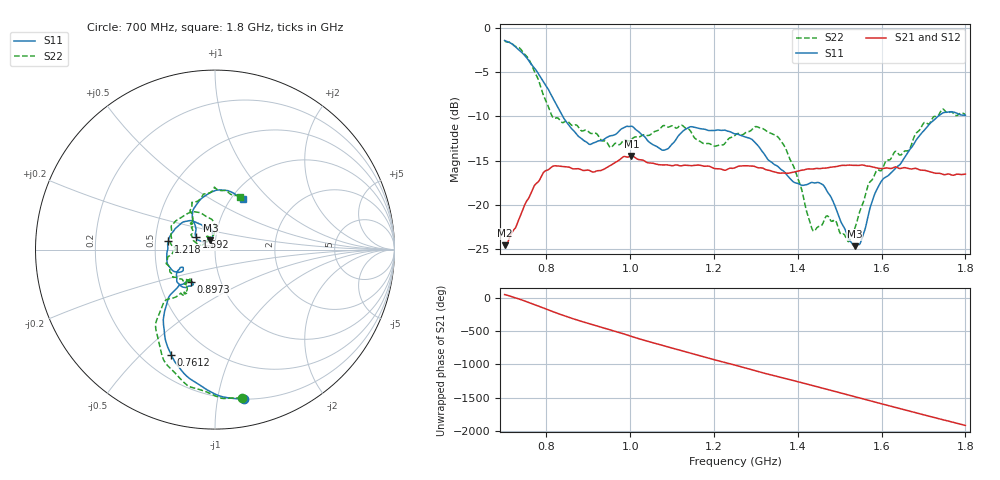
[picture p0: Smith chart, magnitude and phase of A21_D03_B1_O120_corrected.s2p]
! Created with skrf 1.9.0 (http://scikit-rf.org).
# Hz S RI R 50.0
!freq ReS11 ImS11 ReS21 ImS21 ReS12 ImS12 ReS22 ImS22
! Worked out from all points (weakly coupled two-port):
!   1601 points, 700 MHz to 1.8 GHz, reference 50 ohm
!   highest |S21| = -14.48 dB at 1.002 GHz (marker M1); lowest = -24.6 dB at 700.7 MHz (marker M2)
!   lowest |S11| = -24.7 dB at 1.536 GHz (marker M3), VSWR 1.12, Z = 47.3 + j5.02 ohm
!   |S11| at or under -10 dB: 838.9 MHz to 1.735 GHz (895.7 MHz wide, 69.6 % of centre)
!   |S22| runs from -24.1 to -1.5 dB; largest |S21 - S12| = 0.0036
!   S11 on the Smith chart (normalised r, x): 700 MHz: 0.20, -1.19; 761.2 MHz: 0.32, -0.62; 897.3 MHz: 0.72, -0.27; 1.218 GHz: 0.59, +0.06; 1.592 GHz: 0.80, +0.11; 1.8 GHz: 1.13, +0.71
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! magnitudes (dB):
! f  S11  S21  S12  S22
! 700 MHz  -1.4  -24.6  -24.3  -1.5
! 700.7 MHz  -1.4  -24.6  -24.3  -1.5
! 761.2 MHz  -4.0  -18.9  -18.8  -3.9
! 814.8 MHz  -7.9  -15.6  -15.7  -10.1
! 883.6 MHz  -12.5  -16.0  -15.9  -11.6
! 897.3 MHz  -13.0  -16.1  -16.1  -11.6
! 953 MHz  -12.2  -15.5  -15.5  -13.5
! 1.002 GHz  -11.1  -14.5  -14.6  -12.6
! 1.067 GHz  -13.5  -15.4  -15.4  -11.5
! 1.143 GHz  -11.2  -15.6  -15.5  -11.6
! 1.218 GHz  -11.6  -16.0  -16.0  -13.2
! 1.25 GHz  -12.0  -15.8  -15.7  -12.1
! 1.355 GHz  -15.8  -16.4  -16.3  -12.5
! 1.394 GHz  -17.5  -16.3  -16.2  -16.1
! 1.434 GHz  -17.5  -15.9  -15.9  -22.7
! 1.464 GHz  -18.0  -15.8  -15.8  -21.5
! 1.52 GHz  -23.7  -15.5  -15.5  -24.1
! 1.536 GHz  -24.7  -15.5  -15.5  -22.7
! 1.592 GHz  -18.0  -15.9  -15.9  -16.0
! 1.617 GHz  -16.6  -15.9  -15.8  -14.9
! 1.738 GHz  -9.9  -16.4  -16.5  -9.7
! 1.8 GHz  -9.9  -16.5  -16.5  -9.8
